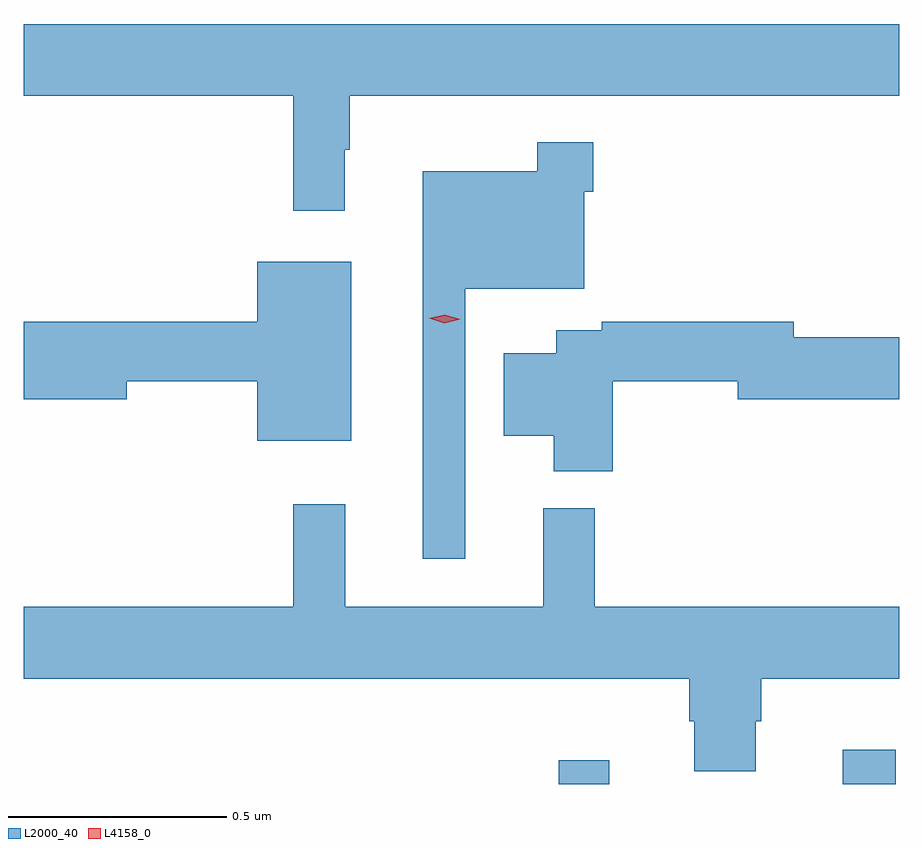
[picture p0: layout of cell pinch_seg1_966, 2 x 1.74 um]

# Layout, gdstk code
import gdstk
lib = gdstk.Library(unit=1e-6, precision=1e-09)
def R(c, l, rs):  # rectangles x0, y0, x1, y1
    for r in rs: c.add(gdstk.rectangle(r[:2], r[2:], *l))
def P(c, l, *ps):  # polygons
    for p in ps: c.add(gdstk.Polygon(p, *l))
L2000_40 = (2000, 40)
L4158_0 = (4158, 0)

pinch_seg1_966 = lib.new_cell('pinch_seg1_966')
R(pinch_seg1_966, L2000_40, [(233.755,571.471,233.871,571.525), (234.404,571.471,234.526,571.549)])
P(pinch_seg1_966, L2000_40, [(233.266,572.921),(233.278,572.921),(233.278,573.044),(234.533,573.044),(234.533,573.208),(232.533,573.208),(232.533,573.044),(233.149,573.044),(233.149,572.781),(233.266,572.781)],
  [(233.541,572.603),(233.814,572.603),(233.814,572.825),(233.834,572.825),(233.834,572.938),(233.706,572.938),(233.706,572.872),(233.444,572.872),(233.444,571.986),(233.541,571.986)],
  [(233.281,572.665),(233.066,572.665),(233.066,572.528),(232.533,572.528),(232.533,572.35),(232.768,572.35),(232.768,572.392),(233.066,572.392),(233.066,572.255),(233.281,572.255)],
  [(233.879,572.392),(234.164,572.392),(234.164,572.35),(234.533,572.35),(234.533,572.492),(234.292,572.492),(234.292,572.528),(233.854,572.528),(233.854,572.508),(233.75,572.508),(233.75,572.455),(233.63,572.455),(233.63,572.267),(233.744,572.267),(233.744,572.186),(233.879,572.186)],
  [(234.205,571.614),(234.218,571.614),(234.218,571.712),(234.533,571.712),(234.533,571.876),(233.837,571.876),(233.837,572.101),(233.72,572.101),(233.72,571.876),(233.267,571.876),(233.267,572.11),(233.149,572.11),(233.149,571.876),(232.533,571.876),(232.533,571.712),(234.053,571.712),(234.053,571.614),(234.065,571.614),(234.065,571.5),(234.205,571.5)])
P(pinch_seg1_966, L4158_0, [(233.494,572.524),(233.459,572.536),(233.458,572.536),(233.459,572.536),(233.495,572.544),(233.53,572.533),(233.53,572.533),(233.53,572.533)])

lib.write_gds('pinch_seg1_966.gds')
